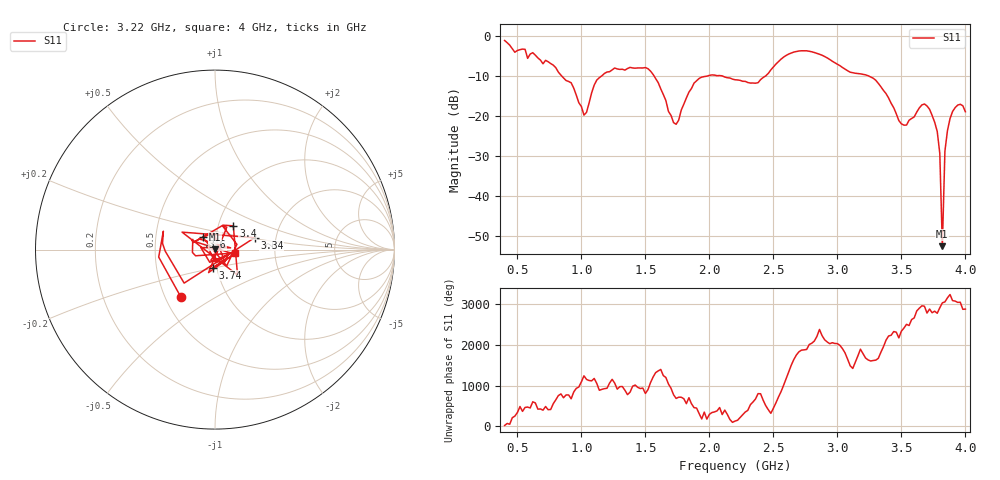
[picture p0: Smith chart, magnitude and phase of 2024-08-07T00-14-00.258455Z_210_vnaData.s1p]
!Created with skrf (http://scikit-rf.org).
# Hz S RI R 50.0
!freq ReS11 ImS11
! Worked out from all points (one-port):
!   181 points, 400 MHz to 4 GHz, reference 50 ohm
!   lowest |S11| = -52.5 dB at 3.82 GHz (marker M1), VSWR 1.00, Z = 49.8 + j0.138 ohm
!   |S11| at or under -10 dB: 1.567 GHz to 1.991 GHz (424.2 MHz wide, 23.8 % of centre); 2.093 GHz to 2.441 GHz (348.2 MHz wide, 15.4 % of centre); 3.24 GHz to end of sweep (the widest 3 of 4)
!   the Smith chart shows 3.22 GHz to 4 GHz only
!   S11 on the Smith chart (normalised r, x): 3.22 GHz: 0.60, -0.35; 3.34 GHz: 1.55, +0.22; 3.4 GHz: 1.18, +0.32; 3.6 GHz: 0.86, +0.12; 3.74 GHz: 0.96, -0.19; 4 GHz: 1.25, -0.04
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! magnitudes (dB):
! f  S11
! 400 MHz  -1.2
! 860 MHz  -10.5
! 1.02 GHz  -19.8
! 1.12 GHz  -11.1
! 1.3 GHz  -8.4
! 1.52 GHz  -8.2
! 1.72 GHz  -21.7
! 1.76 GHz  -21.1
! 1.92 GHz  -10.7
! 2.2 GHz  -11.0
! 2.38 GHz  -11.7
! 2.66 GHz  -4.1
! 3.1 GHz  -9.1
! 3.22 GHz  -9.8
! 3.34 GHz  -12.8
! 3.4 GHz  -15.5
! 3.5 GHz  -22.0
! 3.56 GHz  -21.1
! 3.6 GHz  -20.3
! 3.68 GHz  -17.0
! 3.74 GHz  -19.9
! 3.78 GHz  -23.9
! 3.8 GHz  -29.3
! 3.82 GHz  -52.5
! 3.84 GHz  -28.8
! 3.86 GHz  -23.7
! 3.92 GHz  -17.9
! 4 GHz  -19.0
